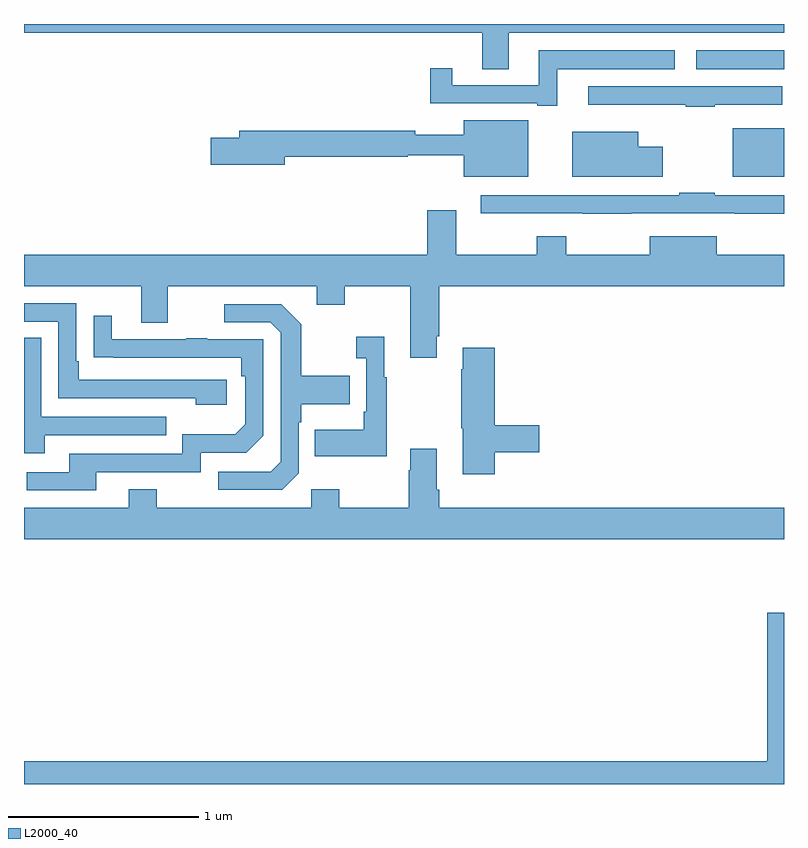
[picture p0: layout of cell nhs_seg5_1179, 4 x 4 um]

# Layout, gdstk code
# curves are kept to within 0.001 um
import gdstk
lib = gdstk.Library(unit=1e-6, precision=1e-09)
def R(c, l, rs):  # rectangles x0, y0, x1, y1
    for r in rs: c.add(gdstk.rectangle(r[:2], r[2:], *l))
def P(c, l, *ps):  # polygons
    for p in ps: c.add(gdstk.Polygon(p, *l))
L2000_40 = (2000, 40)

nhs_seg5_1179 = lib.new_cell('nhs_seg5_1179')
R(nhs_seg5_1179, L2000_40, [(186.731,863.996,187,864.25), (186.537,864.56,187,864.661)])
P(nhs_seg5_1179, L2000_40, [(185.551,864.752),(187,864.752),(187,864.799),(183,864.799),(183,864.752),(185.411,864.752),(185.411,864.562),(185.551,864.562)],
  [(185.806,864.56),(186.424,864.56),(186.424,864.661),(185.708,864.661),(185.708,864.477),(185.254,864.477),(185.254,864.565),(185.137,864.565),(185.137,864.381),(185.702,864.381),(185.702,864.369),(185.806,864.369)],
  [(186.635,864.375),(186.991,864.375),(186.991,864.471),(185.97,864.471),(185.97,864.374),(186.328,864.374),(186.328,864.373),(186.482,864.373),(186.482,864.363),(186.635,864.363)],
  [(185.653,864.292),(185.315,864.292),(185.315,864.217),(185.06,864.217),(185.06,864.236),(184.133,864.236),(184.133,864.2),(183.984,864.2),(183.984,864.058),(184.372,864.058),(184.372,864.1),(185.019,864.1),(185.019,864.108),(185.315,864.108),(185.315,863.996),(185.653,863.996)],
  [(186.361,864.154),(186.232,864.154),(186.232,864.232),(185.885,864.232),(185.885,863.996),(186.361,863.996)],
  [(186.197,863.802),(186.742,863.802),(186.742,863.801),(187,863.801),(187,863.898),(186.635,863.898),(186.635,863.911),(186.448,863.911),(186.448,863.898),(185.403,863.898),(185.403,863.802),(185.941,863.802),(185.941,863.801),(186.197,863.801)],
  [(185.173,863.155),(185.186,863.155),(185.186,863.42),(187,863.42),(187,863.584),(186.646,863.584),(186.646,863.683),(186.293,863.683),(186.293,863.584),(185.853,863.584),(185.853,863.683),(185.698,863.683),(185.698,863.584),(185.275,863.584),(185.275,863.818),(185.123,863.818),(185.123,863.584),(183,863.584),(183,863.42),(183.617,863.42),(183.617,863.226),(183.757,863.226),(183.757,863.42),(184.541,863.42),(184.541,863.321),(184.689,863.321),(184.689,863.42),(185.033,863.42),(185.033,863.043),(185.173,863.043)],
  [(184.066,862.926),(183.289,862.926),(183.289,863.023),(183.276,863.023),(183.276,863.328),(183,863.328),(183,863.232),(183.18,863.232),(183.18,862.83),(183.905,862.83),(183.905,862.796),(184.066,862.796)],
  [(184.446,862.434),(184.446,862.703),(184.459,862.703),(184.459,862.799),(184.715,862.799),(184.715,862.947),(184.459,862.947),(184.459,863.219),(184.353,863.325),(184.053,863.325),(184.053,863.229),(184.296,863.229),(184.35,863.175),(184.35,862.494),(184.299,862.443),(184.023,862.443),(184.023,862.347),(184.359,862.347)],
  [(183.379,862.44),(183.93,862.44),(183.93,862.542),(184.17,862.542),(184.26,862.632),(184.26,863.139),(183.965,863.139),(183.965,863.144),(183.853,863.144),(183.853,863.139),(183.463,863.139),(183.463,863.263),(183.367,863.263),(183.367,863.044),(184.144,863.043),(184.144,862.946),(184.164,862.946),(184.164,862.692),(184.111,862.639),(183.834,862.639),(183.834,862.536),(183.239,862.536),(183.239,862.44),(183.015,862.44),(183.015,862.344),(183.379,862.344)],
  [(184.909,862.939),(184.897,862.939),(184.897,863.152),(184.749,863.152),(184.749,863.039),(184.8,863.039),(184.8,862.759),(184.788,862.759),(184.788,862.663),(184.531,862.663),(184.531,862.523),(184.909,862.523)],
  [(183.109,862.635),(183.749,862.635),(183.749,862.731),(183.09,862.731),(183.09,863.147),(183,863.147),(183,862.541),(183.109,862.541)],
  [(185.477,862.546),(185.713,862.546),(185.713,862.688),(185.477,862.688),(185.477,863.095),(185.309,863.095),(185.309,862.982),(185.302,862.982),(185.302,862.671),(185.309,862.671),(185.309,862.428),(185.477,862.428)],
  [(187,862.252),(185.186,862.252),(185.186,862.348),(185.173,862.348),(185.173,862.564),(185.033,862.564),(185.033,862.451),(185.026,862.451),(185.026,862.252),(184.659,862.252),(184.659,862.351),(184.512,862.351),(184.512,862.252),(183.699,862.252),(183.699,862.351),(183.551,862.351),(183.551,862.252),(183,862.252),(183,862.088),(187,862.088)],
  [(187,861.7),(186.911,861.7),(186.911,860.92),(183,860.92),(183,860.799),(187,860.799)])

lib.write_gds('nhs_seg5_1179.gds')
